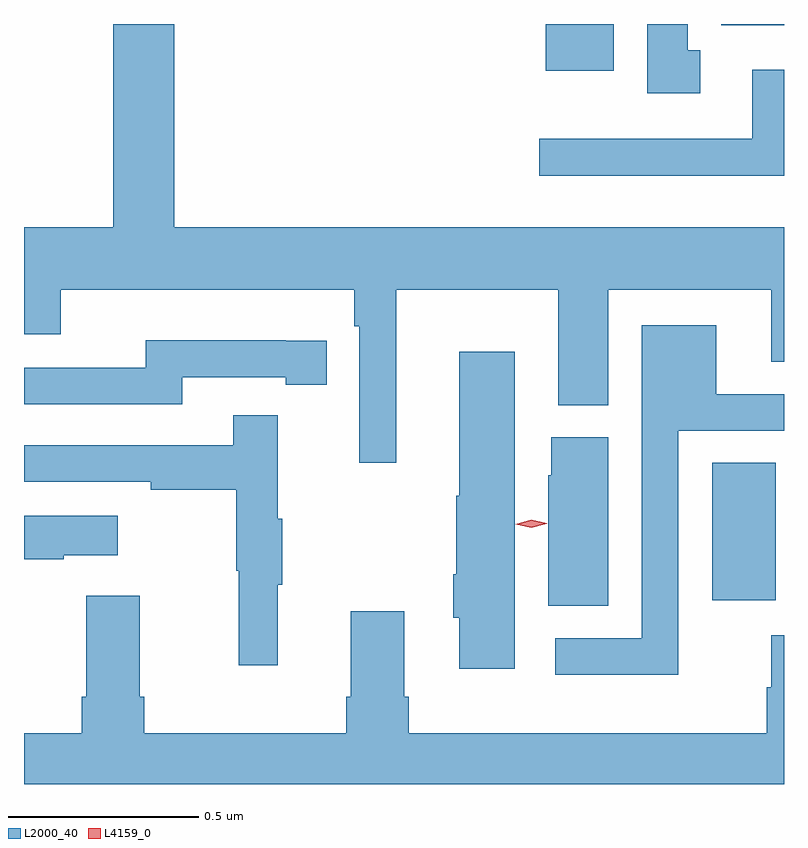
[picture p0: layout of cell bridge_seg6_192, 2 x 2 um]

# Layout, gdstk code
import gdstk
lib = gdstk.Library(unit=1e-6, precision=1e-09)
def R(c, l, rs):  # rectangles x0, y0, x1, y1
    for r in rs: c.add(gdstk.rectangle(r[:2], r[2:], *l))
def P(c, l, *ps):  # polygons
    for p in ps: c.add(gdstk.Polygon(p, *l))
L2000_40 = (2000, 40)
L4159_0 = (4159, 0)

bridge_seg6_192 = lib.new_cell('bridge_seg6_192')
R(bridge_seg6_192, L2000_40, [(291.212,971.826,291.379,972.188), (290.774,973.22,290.953,973.343), (291.236,973.34,291.401,973.343)])
P(bridge_seg6_192, L2000_40, [(290.38,972.644),(290.807,972.644),(290.807,972.34),(290.938,972.34),(290.938,972.644),(291.368,972.644),(291.368,972.454),(291.401,972.454),(291.401,972.808),(289.796,972.808),(289.796,973.343),(289.636,973.343),(289.636,972.808),(289.401,972.808),(289.401,972.527),(289.498,972.527),(289.498,972.644),(290.27,972.644),(290.27,972.548),(290.283,972.548),(290.283,972.189),(290.38,972.189)],
  [(291.181,973.274),(291.148,973.274),(291.148,973.343),(291.041,973.343),(291.041,973.161),(291.181,973.161)],
  [(291.401,973.222),(291.317,973.222),(291.317,973.041),(290.757,973.041),(290.757,972.944),(291.401,972.944)],
  [(291.123,972.273),(291.401,972.273),(291.401,972.369),(291.223,972.369),(291.223,972.55),(291.027,972.55),(291.027,971.727),(290.799,971.727),(290.799,971.63),(291.123,971.63)],
  [(289.818,972.414),(290.09,972.414),(290.09,972.394),(290.198,972.394),(290.198,972.51),(290.09,972.51),(290.09,972.511),(289.722,972.511),(289.722,972.438),(289.401,972.438),(289.401,972.342),(289.818,972.342)],
  [(290.692,972.481),(290.546,972.481),(290.546,972.101),(290.539,972.101),(290.539,971.895),(290.531,971.895),(290.531,971.781),(290.546,971.781),(290.546,971.646),(290.692,971.646)],
  [(290.069,971.867),(290.08,971.867),(290.08,972.041),(290.069,972.041),(290.069,972.313),(289.951,972.313),(289.951,972.234),(289.401,972.234),(289.401,972.138),(289.735,972.138),(289.735,972.118),(289.959,972.118),(289.959,971.904),(289.966,971.904),(289.966,971.655),(290.069,971.655)],
  [(290.938,972.255),(290.789,972.255),(290.789,972.156),(290.78,972.156),(290.78,971.812),(290.938,971.812)],
  [(289.505,971.945),(289.648,971.945),(289.648,972.049),(289.401,972.049),(289.401,971.935),(289.505,971.935)],
  [(291.401,971.734),(291.368,971.734),(291.368,971.597),(291.356,971.597),(291.356,971.476),(290.414,971.476),(290.414,971.572),(290.401,971.572),(290.401,971.797),(290.261,971.797),(290.261,971.572),(290.249,971.572),(290.249,971.476),(289.718,971.476),(289.718,971.572),(289.705,971.572),(289.705,971.839),(289.565,971.839),(289.565,971.572),(289.553,971.572),(289.553,971.476),(289.401,971.476),(289.401,971.343),(291.401,971.343)])
P(bridge_seg6_192, L4159_0, [(290.736,972.018),(290.695,972.027),(290.695,972.027),(290.695,972.027),(290.736,972.038),(290.776,972.029),(290.776,972.028),(290.776,972.028)])

lib.write_gds('bridge_seg6_192.gds')
